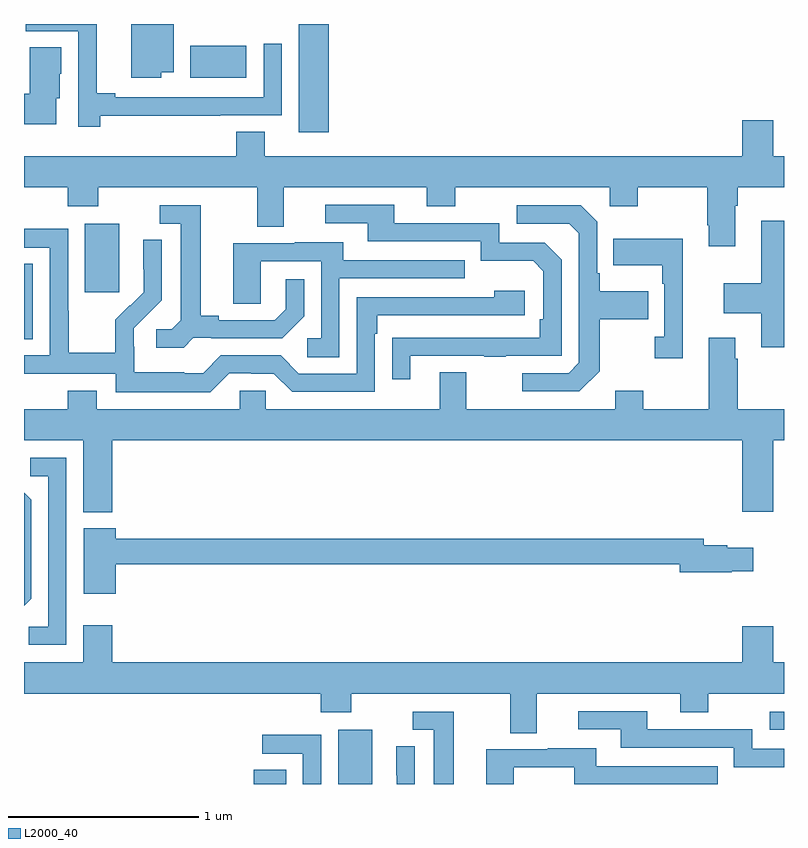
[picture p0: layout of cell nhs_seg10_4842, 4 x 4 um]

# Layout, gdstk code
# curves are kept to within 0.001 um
import gdstk
lib = gdstk.Library(unit=1e-6, precision=1e-09)
def R(c, l, rs):  # rectangles x0, y0, x1, y1
    for r in rs: c.add(gdstk.rectangle(r[:2], r[2:], *l))
def P(c, l, *ps):  # polygons
    for p in ps: c.add(gdstk.Polygon(p, *l))
L2000_40 = (2000, 40)

nhs_seg10_4842 = lib.new_cell('nhs_seg10_4842')
R(nhs_seg10_4842, L2000_40, [(390.209,1306.5,390.379,1306.574), (390.653,1306.5,390.832,1306.786), (392.925,1306.785,393,1306.881), (389,1308.841,389.047,1309.238), (389.321,1309.089,389.5,1309.45), (390.446,1309.929,390.605,1310.5), (389.876,1310.216,390.169,1310.386)])
P(nhs_seg10_4842, L2000_40, [(389.722,1310.246),(389.788,1310.246),(389.788,1310.5),(389.564,1310.5),(389.564,1310.216),(389.722,1310.216)],
  [(389.402,1310.018),(390.032,1310.018),(390.032,1310.019),(390.357,1310.019),(390.357,1310.395),(390.261,1310.395),(390.261,1310.115),(389.479,1310.115),(389.479,1310.135),(389.384,1310.135),(389.384,1310.5),(389.009,1310.5),(389.009,1310.463),(389.286,1310.463),(389.286,1309.959),(389.402,1309.959)],
  [(389.17,1310.109),(389.188,1310.109),(389.188,1310.238),(389.197,1310.238),(389.197,1310.378),(389.03,1310.378),(389.03,1310.134),(389,1310.134),(389,1309.973),(389.17,1309.973)],
  [(392.743,1309.544),(392.756,1309.544),(392.756,1309.64),(393,1309.64),(393,1309.804),(392.944,1309.804),(392.944,1309.993),(392.78,1309.993),(392.78,1309.804),(390.268,1309.804),(390.268,1309.934),(390.116,1309.934),(390.116,1309.804),(389,1309.804),(389,1309.64),(389.231,1309.64),(389.231,1309.541),(389.391,1309.541),(389.391,1309.64),(390.227,1309.64),(390.227,1309.432),(390.367,1309.432),(390.367,1309.64),(391.121,1309.64),(391.121,1309.541),(391.269,1309.541),(391.269,1309.64),(392.082,1309.64),(392.082,1309.541),(392.229,1309.541),(392.229,1309.64),(392.596,1309.64),(392.596,1309.441),(392.603,1309.441),(392.603,1309.329),(392.743,1309.329)],
  [(391.033,1308.753),(391.423,1308.753),(391.423,1308.748),(391.535,1308.748),(391.535,1308.753),(391.83,1308.753),(391.83,1309.26),(391.74,1309.35),(391.5,1309.35),(391.5,1309.452),(390.949,1309.452),(390.949,1309.548),(390.585,1309.548),(390.585,1309.452),(390.809,1309.452),(390.809,1309.356),(391.404,1309.356),(391.404,1309.253),(391.681,1309.253),(391.734,1309.2),(391.734,1308.946),(391.714,1308.946),(391.714,1308.849),(390.937,1308.848),(390.937,1308.63),(391.033,1308.63)],
  [(389.892,1308.849),(389.986,1308.849),(389.986,1308.846),(390.358,1308.846),(390.474,1308.962),(390.474,1309.156),(390.377,1309.156),(390.377,1308.999),(390.32,1308.942),(390.025,1308.942),(390.025,1308.965),(389.929,1308.965),(389.929,1309.545),(389.715,1309.545),(389.715,1309.449),(389.825,1309.449),(389.825,1308.941),(389.778,1308.894),(389.697,1308.894),(389.697,1308.797),(389.84,1308.797)],
  [(392.029,1308.673),(392.029,1308.946),(392.285,1308.946),(392.285,1309.093),(392.029,1309.093),(392.029,1309.189),(392.016,1309.189),(392.016,1309.458),(391.929,1309.545),(391.593,1309.545),(391.593,1309.449),(391.869,1309.449),(391.92,1309.398),(391.92,1308.717),(391.866,1308.663),(391.623,1308.663),(391.623,1308.567),(391.923,1308.567)],
  [(393,1309.465),(392.879,1309.465),(392.879,1309.135),(392.682,1309.135),(392.682,1308.977),(392.879,1308.977),(392.879,1308.798),(393,1308.798)],
  [(390.081,1308.663),(390.197,1308.663),(390.197,1308.66),(390.315,1308.66),(390.411,1308.564),(390.846,1308.564),(390.846,1308.869),(390.859,1308.869),(390.859,1308.966),(391.636,1308.966),(391.636,1309.096),(391.475,1309.096),(391.475,1309.062),(390.75,1309.062),(390.75,1308.66),(390.447,1308.66),(390.351,1308.756),(390.036,1308.756),(389.943,1308.663),(389.843,1308.663),(389.843,1308.667),(389.58,1308.667),(389.58,1308.801),(389.578,1308.801),(389.578,1308.898),(389.724,1309.046),(389.724,1309.364),(389.628,1309.364),(389.628,1309.21),(389.63,1309.21),(389.63,1309.088),(389.559,1309.017),(389.556,1309.02),(389.479,1308.943),(389.479,1308.769),(389.235,1308.769),(389.235,1308.992),(389.232,1308.992),(389.232,1309.422),(389,1309.422),(389,1309.323),(389.136,1309.323),(389.136,1308.756),(389,1308.756),(389,1308.66),(389.484,1308.66),(389.484,1308.563),(389.981,1308.563)],
  [(392.468,1309.369),(392.101,1309.369),(392.101,1309.229),(392.358,1309.229),(392.358,1309.133),(392.37,1309.133),(392.37,1308.854),(392.319,1308.854),(392.319,1308.741),(392.468,1308.741)],
  [(390.66,1309.161),(391.319,1309.161),(391.319,1309.257),(390.679,1309.257),(390.679,1309.351),(390.425,1309.351),(390.425,1309.347),(390.101,1309.347),(390.101,1309.027),(390.246,1309.027),(390.246,1309.251),(390.564,1309.251),(390.564,1308.846),(390.492,1308.846),(390.492,1308.745),(390.66,1308.745)],
  [(389.465,1308.308),(392.78,1308.308),(392.78,1307.934),(392.944,1307.934),(392.944,1308.308),(393,1308.308),(393,1308.472),(392.756,1308.472),(392.756,1308.737),(392.743,1308.737),(392.743,1308.85),(392.603,1308.85),(392.603,1308.472),(392.259,1308.472),(392.259,1308.571),(392.111,1308.571),(392.111,1308.472),(391.327,1308.472),(391.327,1308.667),(391.187,1308.667),(391.187,1308.472),(390.273,1308.472),(390.273,1308.57),(390.135,1308.57),(390.135,1308.472),(389.383,1308.472),(389.383,1308.571),(389.231,1308.571),(389.231,1308.472),(389,1308.472),(389,1308.308),(389.312,1308.308),(389.312,1307.93),(389.465,1307.93)],
  [(389.223,1308.216),(389.032,1308.216),(389.032,1308.121),(389.127,1308.121),(389.127,1307.328),(389.025,1307.328),(389.025,1307.232),(389.223,1307.232)],
  [(389.037,1307.474),(389.037,1307.996),(389,1308.033),(389,1307.437)],
  [(389.482,1307.656),(392.45,1307.656),(392.45,1307.614),(392.726,1307.614),(392.726,1307.621),(392.839,1307.621),(392.839,1307.743),(392.7,1307.743),(392.7,1307.756),(392.578,1307.756),(392.578,1307.792),(389.482,1307.792),(389.482,1307.845),(389.315,1307.845),(389.315,1307.502),(389.482,1307.502)],
  [(391.699,1306.976),(392.453,1306.976),(392.453,1306.877),(392.601,1306.877),(392.601,1306.976),(393,1306.976),(393,1307.14),(392.944,1307.14),(392.944,1307.329),(392.78,1307.329),(392.78,1307.14),(389.465,1307.14),(389.465,1307.335),(389.312,1307.335),(389.312,1307.14),(389,1307.14),(389,1306.976),(390.563,1306.976),(390.563,1306.877),(390.723,1306.877),(390.723,1306.976),(391.559,1306.976),(391.559,1306.768),(391.699,1306.768)],
  [(393,1306.686),(392.832,1306.686),(392.832,1306.788),(392.281,1306.788),(392.281,1306.884),(391.917,1306.884),(391.917,1306.788),(392.141,1306.788),(392.141,1306.692),(392.736,1306.692),(392.736,1306.589),(393,1306.589)],
  [(391.261,1306.881),(391.047,1306.881),(391.047,1306.785),(391.157,1306.785),(391.157,1306.5),(391.261,1306.5)],
  [(390.564,1306.758),(390.255,1306.758),(390.255,1306.659),(390.468,1306.659),(390.468,1306.5),(390.564,1306.5)],
  [(391.056,1306.7),(390.96,1306.7),(390.96,1306.546),(390.962,1306.546),(390.962,1306.5),(391.056,1306.5)],
  [(391.578,1306.587),(391.896,1306.587),(391.896,1306.5),(392.651,1306.5),(392.651,1306.593),(392.011,1306.593),(392.011,1306.687),(391.757,1306.687),(391.757,1306.683),(391.433,1306.683),(391.433,1306.5),(391.578,1306.5)])

lib.write_gds('nhs_seg10_4842.gds')
